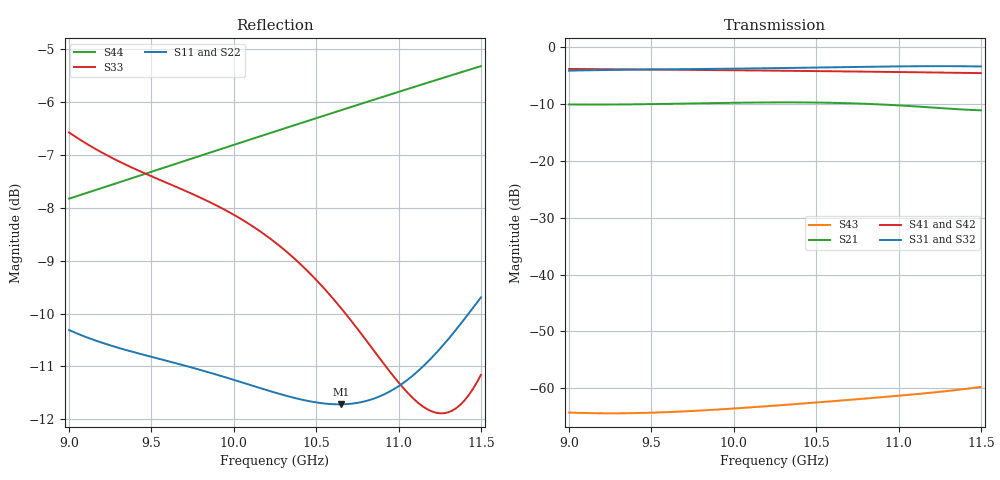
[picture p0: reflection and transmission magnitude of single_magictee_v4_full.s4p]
! Generated from PyAEDT SolutionData; AEDT ExportNetworkData workaround
# GHz S MA R 50
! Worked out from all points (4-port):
!   101 points, 9 GHz to 11.5 GHz, reference 50 ohm
!   strongest paths, dB at 9 GHz, 9.625 GHz, 10.25 GHz, 10.88 GHz, 11.5 GHz:
!     S31: -4.1, -3.8, -3.6, -3.4, -3.4
!     S32: -4.1, -3.8, -3.6, -3.4, -3.4
!     S41: -3.8, -3.9, -4.1, -4.3, -4.5
!     S42: -3.8, -3.9, -4.1, -4.3, -4.5
!     S21: -10.0, -9.9, -9.7, -10.0, -11.1
!     S43: -64.3, -64.2, -63.1, -61.6, -59.8
!   lowest |S11| = -11.7 dB at 10.65 GHz (marker M1), VSWR 1.70, Z = 29.5 + j2.56 ohm
!   |S11| at or under -10 dB: start of sweep to 11.43 GHz
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9  0.3051 -13.6  0.3148 -95.4  0.6245 -27.8  0.6464 45.4
   0.3148 -95.4  0.3062 -13.6  0.6245 -27.8  0.6459 -134.5
   0.6245 -27.8  0.6245 -27.8  0.4691 179.7  0.0006114 4.8
   0.6464 45.4  0.6459 -134.5  0.0006114 4.8  0.4062 -125.6
9.4  0.2906 -60.0  0.3158 -149.0  0.6373 -98.3  0.6401 0.2
     0.3158 -149.0  0.2916 -60.0  0.6373 -98.4  0.6396 -179.8
     0.6373 -98.3  0.6373 -98.4  0.4333 90.1  0.0006047 -69.7
     0.6401 0.2  0.6396 -179.8  0.0006047 -69.7  0.4257 -167.4
9.875  0.2775 -112.7  0.3236 150.7  0.6476 -178.6  0.6316 -51.4
       0.3236 150.7  0.2784 -112.6  0.6475 -178.7  0.6313 128.5
       0.6476 -178.6  0.6475 -178.7  0.4016 -11.5  0.0006465 -160.1
       0.6316 -51.4  0.6313 128.5  0.0006465 -160.1  0.4501 144.2
10.3  0.2649 -156.4  0.3282 98.5  0.6586 111.4  0.6231 -96.3
      0.3282 98.5  0.2657 -156.3  0.6585 111.3  0.6229 83.6
      0.6586 111.4  0.6585 111.3  0.3641 -100.4  0.0007123 114.8
      0.6231 -96.3  0.6229 83.6  0.0007123 114.8  0.4729 101.6
10.65  0.2595 171.0  0.324 56.5  0.6699 54.2  0.6155 -132.5
       0.324 56.5  0.2601 171.1  0.6698 54.1  0.6154 47.4
       0.6699 54.2  0.6698 54.1  0.3202 -175.8  0.0007797 41.1
       0.6155 -132.5  0.6154 47.4  0.0007797 41.1  0.4924 67.0
11.05  0.2734 136.7  0.3059 11.2  0.6815 -11.9  0.6059 -173.3
       0.3059 11.2  0.2736 136.7  0.6815 -12.0  0.6059 6.5
       0.6815 -11.9  0.6815 -12.0  0.2667 88.4  0.0008724 -48.0
       0.6059 -173.3  0.6059 6.5  0.0008724 -48.0  0.5154 27.6
11.5  0.3276 94.4  0.2795 -32.0  0.6795 -88.9  0.594 141.3
      0.2795 -32.0  0.3268 94.3  0.6795 -89.1  0.5944 -39.0
      0.6795 -88.9  0.6795 -89.1  0.2767 -37.9  0.001029 -157.1
      0.594 141.3  0.5944 -39.0  0.001029 -157.1  0.5421 -16.6
